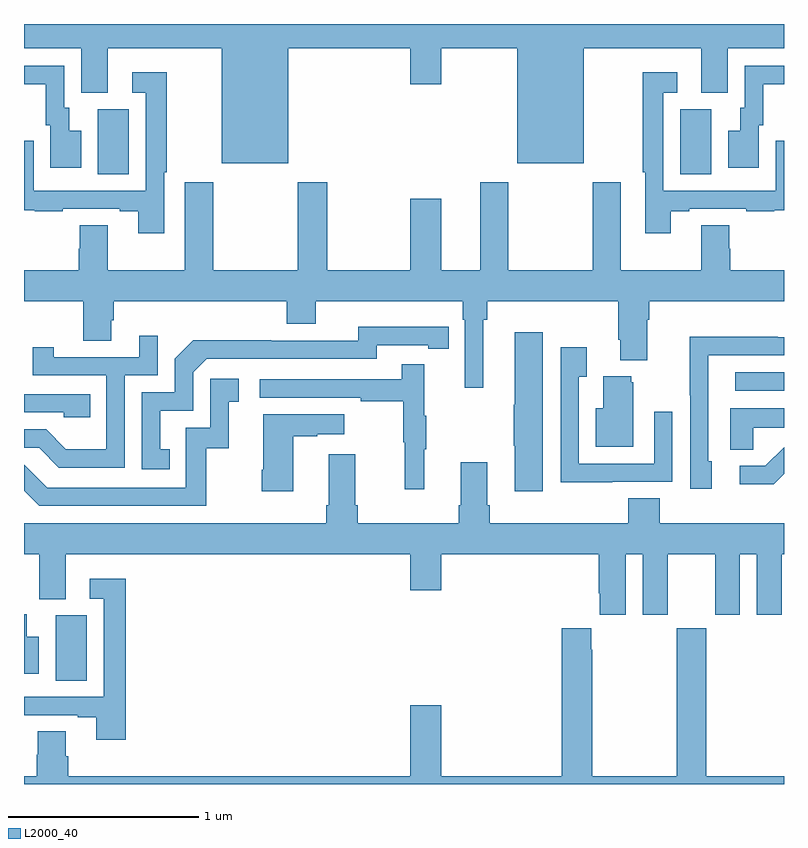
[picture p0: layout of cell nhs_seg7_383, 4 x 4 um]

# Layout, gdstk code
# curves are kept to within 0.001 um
import gdstk
lib = gdstk.Library(unit=1e-6, precision=1e-09)
def R(c, l, rs):  # rectangles x0, y0, x1, y1
    for r in rs: c.add(gdstk.rectangle(r[:2], r[2:], *l))
def P(c, l, *ps):  # polygons
    for p in ps: c.add(gdstk.Polygon(p, *l))
L2000_40 = (2000, 40)

nhs_seg7_383 = lib.new_cell('nhs_seg7_383')
R(nhs_seg7_383, L2000_40, [(139.166,1074.544,139.33,1074.888), (142.743,1076.07,143,1076.166), (139.388,1077.208,139.552,1077.552), (142.454,1077.208,142.618,1077.552)])
P(nhs_seg7_383, L2000_40, [(140.392,1077.872),(141.032,1077.872),(141.032,1077.684),(141.196,1077.684),(141.196,1077.872),(141.596,1077.872),(141.596,1077.266),(141.946,1077.266),(141.946,1077.872),(142.565,1077.872),(142.565,1077.637),(142.705,1077.637),(142.705,1077.872),(143,1077.872),(143,1078),(139,1078),(139,1077.872),(139.301,1077.872),(139.301,1077.637),(139.441,1077.637),(139.441,1077.872),(140.042,1077.872),(140.042,1077.266),(140.392,1077.266)],
  [(139.3,1077.439),(139.237,1077.439),(139.237,1077.558),(139.212,1077.558),(139.212,1077.78),(139,1077.78),(139,1077.684),(139.115,1077.684),(139.115,1077.468),(139.139,1077.468),(139.139,1077.243),(139.3,1077.243)],
  [(142.867,1077.468),(142.891,1077.468),(142.891,1077.684),(143,1077.684),(143,1077.78),(142.794,1077.78),(142.794,1077.558),(142.769,1077.558),(142.769,1077.439),(142.706,1077.439),(142.706,1077.243),(142.867,1077.243)],
  [(142.405,1077.015),(142.501,1077.015),(142.501,1077.027),(142.801,1077.027),(142.801,1077.015),(142.949,1077.015),(142.949,1077.021),(143,1077.021),(143,1077.385),(142.956,1077.385),(142.956,1077.123),(142.365,1077.123),(142.365,1077.639),(142.438,1077.639),(142.438,1077.745),(142.257,1077.745),(142.257,1077.22),(142.269,1077.22),(142.269,1076.898),(142.405,1076.898)],
  [(139.737,1077.22),(139.75,1077.22),(139.75,1077.745),(139.569,1077.745),(139.569,1077.639),(139.641,1077.639),(139.641,1077.123),(139.05,1077.123),(139.05,1077.385),(139,1077.385),(139,1077.021),(139.057,1077.021),(139.057,1077.015),(139.205,1077.015),(139.205,1077.027),(139.505,1077.027),(139.505,1077.015),(139.601,1077.015),(139.601,1076.898),(139.737,1076.898)],
  [(141.418,1076.444),(141.437,1076.444),(141.437,1076.54),(142.127,1076.54),(142.127,1076.338),(142.139,1076.338),(142.139,1076.231),(142.279,1076.231),(142.279,1076.444),(142.292,1076.444),(142.292,1076.54),(143,1076.54),(143,1076.704),(142.718,1076.704),(142.718,1076.817),(142.713,1076.817),(142.713,1076.942),(142.565,1076.942),(142.565,1076.704),(142.141,1076.704),(142.141,1077.166),(141.994,1077.166),(141.994,1076.704),(141.549,1076.704),(141.549,1077.166),(141.401,1077.166),(141.401,1076.704),(141.196,1076.704),(141.196,1077.079),(141.032,1077.079),(141.032,1076.704),(140.595,1076.704),(140.595,1077.166),(140.44,1077.166),(140.44,1076.704),(139.995,1076.704),(139.995,1077.166),(139.847,1077.166),(139.847,1076.704),(139.441,1076.704),(139.441,1076.942),(139.294,1076.942),(139.294,1076.817),(139.289,1076.817),(139.289,1076.704),(139,1076.704),(139,1076.54),(139.312,1076.54),(139.312,1076.332),(139.459,1076.332),(139.459,1076.442),(139.472,1076.442),(139.472,1076.54),(140.384,1076.54),(140.384,1076.423),(140.536,1076.423),(140.536,1076.54),(141.308,1076.54),(141.308,1076.444),(141.321,1076.444),(141.321,1076.085),(141.418,1076.085)],
  [(139.766,1075.761),(139.717,1075.761),(139.717,1075.965),(139.89,1075.965),(139.89,1076.166),(139.962,1076.238),(140.856,1076.238),(140.856,1076.31),(141.128,1076.31),(141.128,1076.29),(141.236,1076.29),(141.236,1076.406),(140.76,1076.407),(140.76,1076.334),(140.3,1076.334),(140.3,1076.336),(139.892,1076.336),(139.794,1076.238),(139.794,1076.061),(139.62,1076.061),(139.62,1075.656),(139.766,1075.656)],
  [(141.73,1076.377),(141.584,1076.377),(141.584,1075.997),(141.577,1075.997),(141.577,1075.78),(141.584,1075.78),(141.584,1075.542),(141.73,1075.542)],
  [(139.53,1076.151),(139.704,1076.151),(139.704,1076.359),(139.607,1076.359),(139.607,1076.247),(139.156,1076.247),(139.156,1076.299),(139.045,1076.299),(139.045,1076.151),(139.434,1076.151),(139.434,1075.762),(139.22,1075.762),(139.116,1075.866),(139,1075.866),(139,1075.77),(139.079,1075.77),(139.184,1075.665),(139.53,1075.665)],
  [(142.621,1075.698),(142.602,1075.698),(142.602,1076.256),(143,1076.256),(143,1076.352),(142.967,1076.352),(142.967,1076.354),(142.504,1076.354),(142.504,1076.047),(142.506,1076.047),(142.506,1075.554),(142.621,1075.554)],
  [(142.097,1075.59),(142.413,1075.59),(142.413,1075.96),(142.317,1075.96),(142.317,1075.686),(141.921,1075.686),(141.921,1076.143),(141.961,1076.143),(141.961,1076.299),(141.825,1076.299),(141.825,1075.589),(142.097,1075.589)],
  [(141.107,1075.763),(141.118,1075.763),(141.118,1075.937),(141.107,1075.937),(141.107,1076.209),(140.989,1076.209),(140.989,1076.13),(140.241,1076.13),(140.241,1076.034),(140.773,1076.034),(140.773,1076.014),(140.997,1076.014),(140.997,1075.8),(141.004,1075.8),(141.004,1075.551),(141.107,1075.551)],
  [(142.207,1076.115),(142.196,1076.115),(142.196,1076.146),(142.049,1076.146),(142.049,1075.978),(142.01,1075.978),(142.01,1075.775),(142.207,1075.775)],
  [(139.96,1075.767),(140.078,1075.767),(140.078,1076.013),(140.131,1076.013),(140.131,1076.134),(139.98,1076.134),(139.98,1075.875),(139.851,1075.875),(139.851,1075.56),(139.122,1075.56),(139.002,1075.68),(139,1075.68),(139,1075.544),(139.08,1075.464),(139.96,1075.464)],
  [(139.349,1076.052),(139,1076.052),(139,1075.956),(139.209,1075.956),(139.209,1075.929),(139.349,1075.929)],
  [(142.839,1075.874),(143,1075.874),(143,1075.978),(142.718,1075.978),(142.718,1075.759),(142.839,1075.759)],
  [(140.416,1075.831),(140.543,1075.831),(140.543,1075.841),(140.686,1075.841),(140.686,1075.945),(140.258,1075.945),(140.258,1075.654),(140.251,1075.654),(140.251,1075.542),(140.416,1075.542)],
  [(143,1075.632),(143,1075.773),(142.901,1075.674),(142.767,1075.674),(142.767,1075.577),(142.945,1075.577)],
  [(142.025,1075.003),(142.031,1075.003),(142.031,1074.891),(142.168,1074.891),(142.168,1075.208),(142.256,1075.208),(142.256,1074.891),(142.387,1074.891),(142.387,1075.208),(142.637,1075.208),(142.637,1074.891),(142.768,1074.891),(142.768,1075.208),(142.856,1075.208),(142.856,1074.891),(142.987,1074.891),(142.987,1075.208),(143,1075.208),(143,1075.372),(142.346,1075.372),(142.346,1075.505),(142.181,1075.505),(142.181,1075.372),(141.452,1075.372),(141.452,1075.468),(141.439,1075.468),(141.439,1075.693),(141.299,1075.693),(141.299,1075.468),(141.287,1075.468),(141.287,1075.372),(140.756,1075.372),(140.756,1075.468),(140.743,1075.468),(140.743,1075.735),(140.603,1075.735),(140.603,1075.468),(140.591,1075.468),(140.591,1075.372),(139,1075.372),(139,1075.208),(139.079,1075.208),(139.079,1074.973),(139.219,1074.973),(139.219,1075.208),(141.032,1075.208),(141.032,1075.02),(141.196,1075.02),(141.196,1075.208),(142.025,1075.208)],
  [(139.535,1075.081),(139.347,1075.081),(139.347,1074.975),(139.419,1074.975),(139.419,1074.459),(139,1074.459),(139,1074.363),(139.283,1074.363),(139.283,1074.351),(139.379,1074.351),(139.379,1074.234),(139.535,1074.234)],
  [(139.078,1074.775),(139.015,1074.775),(139.015,1074.894),(139,1074.894),(139,1074.579),(139.078,1074.579)],
  [(143,1074.04),(142.59,1074.04),(142.59,1074.82),(142.435,1074.82),(142.435,1074.04),(141.99,1074.04),(141.99,1074.707),(141.985,1074.707),(141.985,1074.82),(141.83,1074.82),(141.83,1074.04),(141.196,1074.04),(141.196,1074.415),(141.032,1074.415),(141.032,1074.04),(139.232,1074.04),(139.232,1074.146),(139.219,1074.146),(139.219,1074.278),(139.072,1074.278),(139.072,1074.153),(139.067,1074.153),(139.067,1074.04),(139,1074.04),(139,1074),(143,1074)])

lib.write_gds('nhs_seg7_383.gds')
